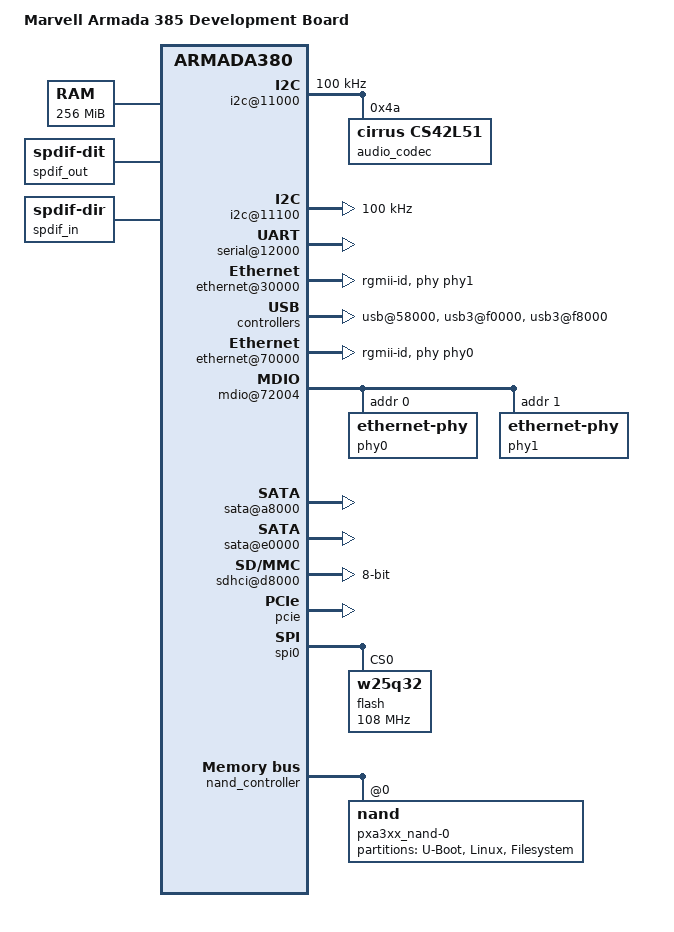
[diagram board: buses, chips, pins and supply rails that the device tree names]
// SPDX-License-Identifier: (GPL-2.0+ OR MIT)
/*
 * Device Tree file for Marvell Armada 388 evaluation board
 * (DB-88F6820)
 *
 *  Copyright (C) 2014 Marvell
 *
 * Thomas Petazzoni <thomas.petazzoni@free-electrons.com>
 */

/dts-v1/;
#include "armada-388.dtsi"

/ {
	model = "Marvell Armada 385 Development Board";
	compatible = "marvell,a385-db", "marvell,armada388",
		"marvell,armada385", "marvell,armada380";

	chosen {
		stdout-path = "serial0:115200n8";
	};

	memory {
		device_type = "memory";
		reg = <0x00000000 0x10000000>; /* 256 MB */
	};

	soc {
		ranges = <MBUS_ID(0xf0, 0x01) 0 0xf1000000 0x100000
			  MBUS_ID(0x01, 0x1d) 0 0xfff00000 0x100000
			  MBUS_ID(0x09, 0x19) 0 0xf1100000 0x10000
			  MBUS_ID(0x09, 0x15) 0 0xf1110000 0x10000
			  MBUS_ID(0x0c, 0x04) 0 0xf1200000 0x100000>;

		internal-regs {
			i2c@11000 {
				status = "okay";
				clock-frequency = <100000>;
				audio_codec: audio-codec@4a {
					#sound-dai-cells = <0>;
					compatible = "cirrus,cs42l51";
					reg = <0x4a>;
				};
			};

			i2c@11100 {
				status = "okay";
				clock-frequency = <100000>;
			};

			serial@12000 {
				status = "okay";
			};

			ethernet@30000 {
				status = "okay";
				phy = <&phy1>;
				phy-mode = "rgmii-id";
				buffer-manager = <&bm>;
				bm,pool-long = <2>;
				bm,pool-short = <3>;
			};

			usb@58000 {
				status = "ok";
			};

			ethernet@70000 {
				status = "okay";
				phy = <&phy0>;
				phy-mode = "rgmii-id";
				buffer-manager = <&bm>;
				bm,pool-long = <0>;
				bm,pool-short = <1>;
			};

			mdio@72004 {
				phy0: ethernet-phy@0 {
					reg = <0>;
				};

				phy1: ethernet-phy@1 {
					reg = <1>;
				};
			};

			sata@a8000 {
				status = "okay";
			};

			sata@e0000 {
				status = "okay";
			};

			bm@c8000 {
				status = "okay";
			};

			sdhci@d8000 {
				broken-cd;
				wp-inverted;
				bus-width = <8>;
				status = "okay";
				no-1-8-v;
			};

			audio-controller@e8000 {
				pinctrl-0 = <&i2s_pins>;
				pinctrl-names = "default";
				status = "disabled";
			};

			usb3@f0000 {
				status = "okay";
			};

			usb3@f8000 {
				status = "okay";
			};
		};

		bm-bppi {
			status = "okay";
		};

		pcie {
			status = "okay";
			/*
			 * The two PCIe units are accessible through
			 * standard PCIe slots on the board.
			 */
			pcie@1,0 {
				/* Port 0, Lane 0 */
				status = "okay";
			};
			pcie@2,0 {
				/* Port 1, Lane 0 */
				status = "okay";
			};
		};
	};

	sound {
		compatible = "simple-audio-card";
		simple-audio-card,name = "Armada 385 DB Audio";
		simple-audio-card,mclk-fs = <256>;
		simple-audio-card,widgets =
			"Headphone", "Out Jack",
			"Line", "In Jack";
		simple-audio-card,routing =
			"Out Jack", "HPL",
			"Out Jack", "HPR",
			"AIN1L", "In Jack",
			"AIN1R", "In Jack";
		status = "disabled";

		simple-audio-card,dai-link@0 {
			format = "i2s";
			cpu {
				sound-dai = <&audio_controller 0>;
			};

			codec {
				sound-dai = <&audio_codec>;
			};
		};

		simple-audio-card,dai-link@1 {
			format = "i2s";
			cpu {
				sound-dai = <&audio_controller 1>;
			};

			codec {
				sound-dai = <&spdif_out>;
			};
		};

		simple-audio-card,dai-link@2 {
			format = "i2s";
			cpu {
				sound-dai = <&audio_controller 1>;
			};

			codec {
				sound-dai = <&spdif_in>;
			};
		};
	};

	spdif_out: spdif-out {
		#sound-dai-cells = <0>;
		compatible = "linux,spdif-dit";
	};

	spdif_in: spdif-in {
		#sound-dai-cells = <0>;
		compatible = "linux,spdif-dir";
	};
};

&spi0 {
	status = "okay";

	flash@0 {
		#address-cells = <1>;
		#size-cells = <1>;
		compatible = "w25q32", "jedec,spi-nor";
		reg = <0>; /* Chip select 0 */
		spi-max-frequency = <108000000>;
	};
};

&nand_controller {
	status = "okay";

	nand@0 {
		reg = <0>;
		label = "pxa3xx_nand-0";
		nand-rb = <0>;
		marvell,nand-keep-config;
		nand-on-flash-bbt;
		nand-ecc-strength = <4>;
		nand-ecc-step-size = <512>;

		partitions {
			compatible = "fixed-partitions";
			#address-cells = <1>;
			#size-cells = <1>;

			partition@0 {
				label = "U-Boot";
				reg = <0 0x800000>;
			};
			partition@800000 {
				label = "Linux";
				reg = <0x800000 0x800000>;
			};
			partition@1000000 {
				label = "Filesystem";
				reg = <0x1000000 0x3f000000>;
			};
		};
	};
};
